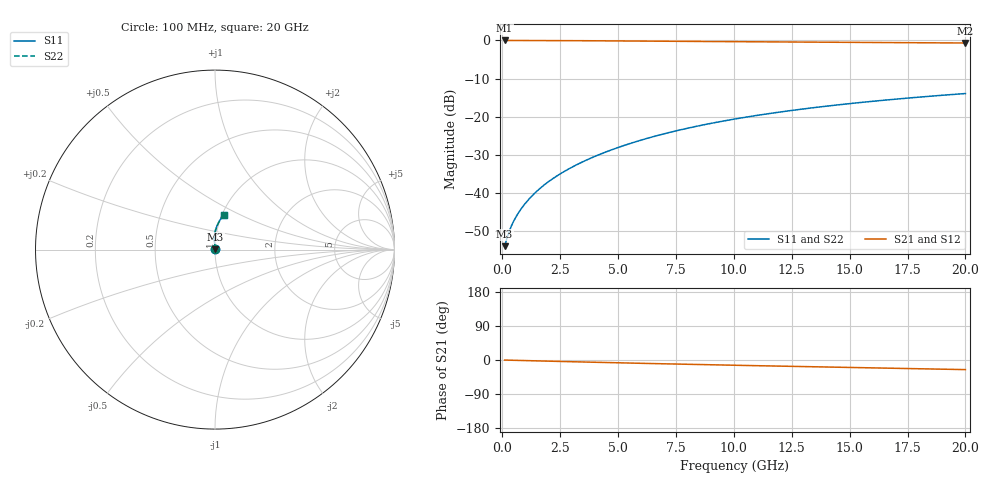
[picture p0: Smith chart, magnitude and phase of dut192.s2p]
! Touchstone file exported from HFSS 2024.1.0
!  File:  C:/UserFiles/LocalFiles/RDL_TSV_Batchsim/temp_RDL_bottom_192_1778699176.aedt
!  Generated:  03:08:40 AM May 14, 2026
!  Design:  RDL_bottom
!  Project:  temp_RDL_bottom_192_1778699176
!  Setup:  Setup1
!  Solution:  Sweep
! Variables:
!  dtsv = 10.80580581um
!  hbump = 3um
!  htsv = 70.01um
!  ldown = 379.58um
!  lrdl = 100um
!  p = 40
!  p1 = 46.64um
!  rhole = 1um
!  t = 450um
!  tdown = 3.08um
!  trdl = 3.915915916um
!  wdown = 28.99um
!  wrdl = 20um
# GHz S MA R 50.000000
! Terminal data exported
! Port[1] = RDL1_T1
! Port[2] = RDL1_T2
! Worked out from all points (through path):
!   200 points, 100 MHz to 20 GHz, reference 50 ohm
!   highest |S21| = -0.02 dB at 100 MHz (marker M1); lowest = -0.7 dB at 20 GHz (marker M2)
!   group delay of S21, straight-line fit = 3.46 ps
!   lowest |S11| = -54.0 dB at 100 MHz (marker M3), VSWR 1.00, Z = 50.2 + j0.0871 ohm
!   |S11| at or under -10 dB: start of sweep to end of sweep
!   |S22| runs from -54.0 to -13.9 dB; largest |S21 - S12| = 3.6e-15
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0.1  0.002004 25.7  0.9982 -0.2  0.9982 -0.2  0.002004 25.7
! Gamma 0 0 0 0
! Port Impedance 50 0 50 0
0.2  0.002543 41.0  0.998 -0.3  0.998 -0.3  0.002543 41.0
0.3  0.003141 49.6  0.9979 -0.5  0.9979 -0.5  0.003141 49.6
0.4  0.003732 55.4  0.9977 -0.6  0.9977 -0.6  0.003732 55.4
0.5  0.004316 59.8  0.9976 -0.8  0.9976 -0.8  0.004316 59.8
0.6  0.0049 63.4  0.9974 -0.9  0.9974 -0.9  0.0049 63.4
0.8  0.006093 69.1  0.9972 -1.3  0.9972 -1.3  0.006093 69.1
1.2  0.008604 76.7  0.9966 -1.9  0.9966 -1.9  0.008604 76.7
1.7  0.01196 82.6  0.9956 -2.6  0.9956 -2.6  0.01196 82.6
2.2  0.01553 86.4  0.9945 -3.4  0.9945 -3.4  0.01553 86.4
2.8  0.0201 89.5  0.9927 -4.3  0.9927 -4.3  0.0201 89.5
3.5  0.02582 91.8  0.9903 -5.3  0.9903 -5.3  0.02582 91.8
4.2  0.03195 93.3  0.9877 -6.3  0.9877 -6.3  0.03195 93.3
5  0.03942 94.1  0.9843 -7.4  0.9843 -7.4  0.03941 94.1
5.9  0.04831 94.3  0.9803 -8.6  0.9803 -8.6  0.04831 94.3
6.8  0.05763 94.0  0.9763 -9.8  0.9763 -9.8  0.05763 94.0
8.4  0.07492 92.6  0.9691 -11.9  0.9691 -11.9  0.07491 92.6
10.1  0.09383 90.4  0.9617 -13.9  0.9617 -13.9  0.09381 90.4
11.7  0.1118 88.0  0.9552 -15.9  0.9552 -15.9  0.1117 88.0
13.4  0.1307 85.4  0.9485 -17.8  0.9485 -17.8  0.1307 85.4
16.7  0.1667 80.4  0.9362 -21.6  0.9362 -21.6  0.1666 80.4
20  0.201 75.6  0.9245 -25.3  0.9245 -25.3  0.201 75.6
